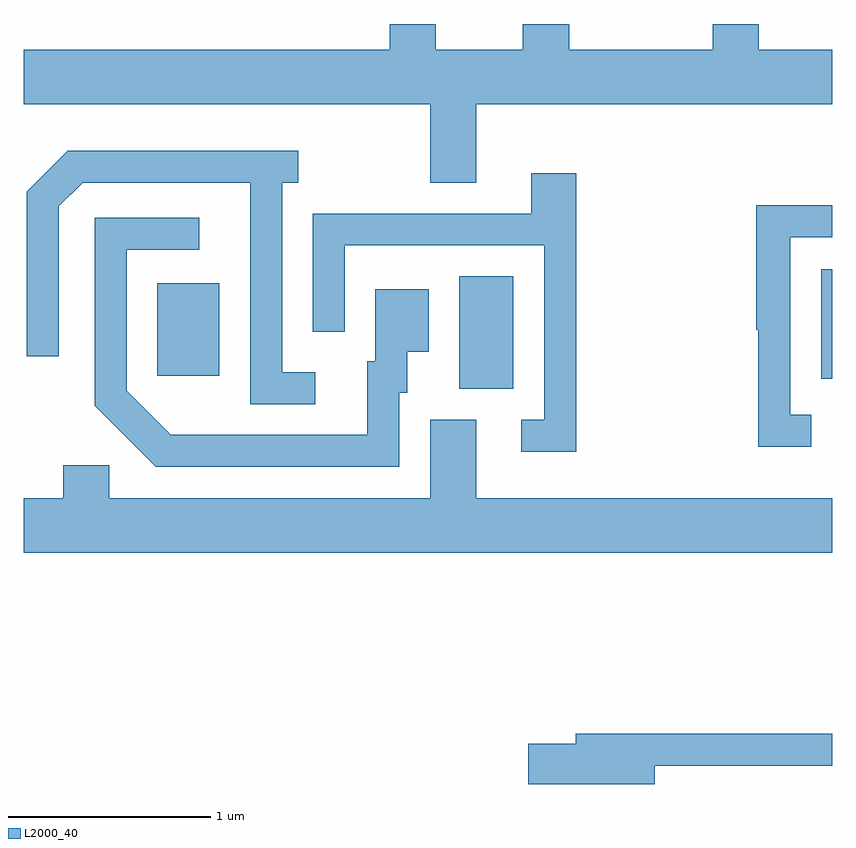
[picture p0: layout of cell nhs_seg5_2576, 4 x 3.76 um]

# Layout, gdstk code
import gdstk
lib = gdstk.Library(unit=1e-6, precision=1e-09)
def R(c, l, rs):  # rectangles x0, y0, x1, y1
    for r in rs: c.add(gdstk.rectangle(r[:2], r[2:], *l))
def P(c, l, *ps):  # polygons
    for p in ps: c.add(gdstk.Polygon(p, *l))
L2000_40 = (2000, 40)

nhs_seg5_2576 = lib.new_cell('nhs_seg5_2576')
R(nhs_seg5_2576, L2000_40, [(263.766,1464.266,264.034,1464.824), (265.556,1464.316,265.611,1464.859), (262.271,1464.331,262.579,1464.789)])
P(nhs_seg5_2576, L2000_40, [(263.849,1465.676),(265.611,1465.676),(265.611,1465.944),(265.249,1465.944),(265.249,1466.072),(265.021,1466.072),(265.021,1465.944),(264.309,1465.944),(264.309,1466.072),(264.081,1466.072),(264.081,1465.944),(263.649,1465.944),(263.649,1466.072),(263.421,1466.072),(263.421,1465.944),(261.611,1465.944),(261.611,1465.676),(263.621,1465.676),(263.621,1465.286),(263.849,1465.286)],
  [(263.053,1464.349),(262.889,1464.349),(262.889,1465.286),(262.968,1465.286),(262.968,1465.444),(261.829,1465.444),(261.626,1465.242),(261.626,1464.428),(261.784,1464.428),(261.784,1465.169),(261.902,1465.286),(262.731,1465.286),(262.731,1464.191),(263.053,1464.191)],
  [(264.344,1465.334),(264.121,1465.334),(264.121,1465.134),(263.041,1465.134),(263.041,1464.548),(263.199,1464.548),(263.199,1464.976),(264.186,1464.976),(264.186,1464.114),(264.073,1464.114),(264.073,1463.956),(264.344,1463.956)],
  [(265.508,1464.139),(265.404,1464.139),(265.404,1465.016),(265.611,1465.016),(265.611,1465.174),(265.236,1465.174),(265.236,1464.56),(265.246,1464.56),(265.246,1463.981),(265.508,1463.981)],
  [(263.469,1464.246),(263.509,1464.246),(263.509,1464.451),(263.614,1464.451),(263.614,1464.759),(263.351,1464.759),(263.351,1464.404),(263.311,1464.404),(263.311,1464.039),(262.337,1464.039),(262.119,1464.257),(262.119,1464.956),(262.478,1464.956),(262.478,1465.114),(261.961,1465.114),(261.961,1464.184),(262.264,1463.881),(263.469,1463.881)],
  [(265.611,1463.724),(263.849,1463.724),(263.849,1464.114),(263.621,1464.114),(263.621,1463.724),(262.034,1463.724),(262.034,1463.889),(261.806,1463.889),(261.806,1463.724),(261.611,1463.724),(261.611,1463.456),(265.611,1463.456)],
  [(264.734,1462.401),(265.611,1462.401),(265.611,1462.559),(264.341,1462.559),(264.341,1462.509),(264.106,1462.509),(264.106,1462.311),(264.734,1462.311)])

lib.write_gds('nhs_seg5_2576.gds')
